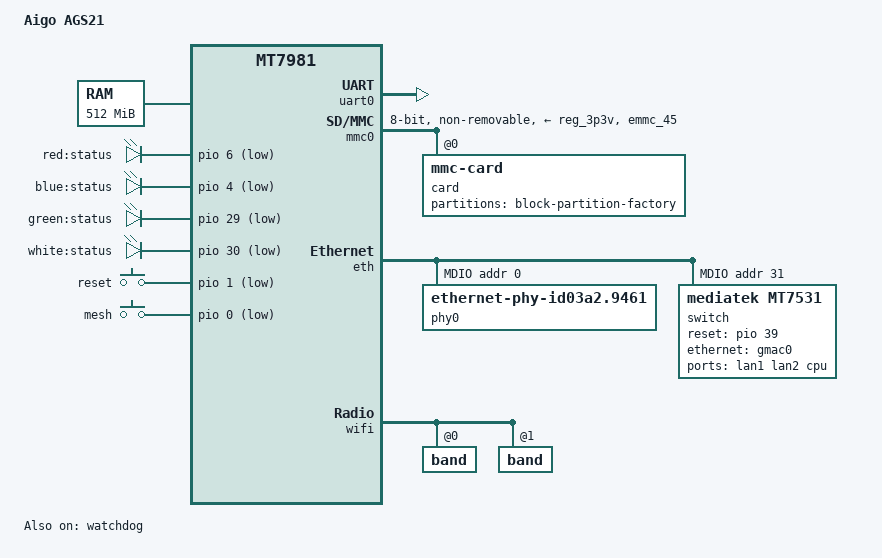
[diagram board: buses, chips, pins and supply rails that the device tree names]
// SPDX-License-Identifier: GPL-2.0-or-later OR MIT
/*
 * Author:dailook
 */

/dts-v1/;
#include <dt-bindings/gpio/gpio.h>
#include <dt-bindings/input/input.h>
#include <dt-bindings/leds/common.h>

#include "mt7981b.dtsi"

/ {
	model = "Aigo AGS21";
	compatible = "aigo,ags21", "mediatek,mt7981";

	chosen {
		bootargs = "root=PARTLABEL=rootfs rootwait rootfstype=squashfs,f2fs";
		stdout-path = "serial0:115200n8";
	};

	aliases {
		led-boot = &status_red_led;
		led-failsafe = &status_red_led;
		led-running = &status_blue_led;
		led-upgrade = &status_blue_led;
		serial0 = &uart0;
	};

	memory {
		reg = <0 0x40000000 0 0x20000000>;
	};

	leds {
		compatible = "gpio-leds";

		status_red_led: led-0 {
			label = "red:status";
			gpios = <&pio 6 GPIO_ACTIVE_LOW>;
		};

		status_blue_led: led-1 {
			label = "blue:status";
			gpios = <&pio 4 GPIO_ACTIVE_LOW>;
		};

		internet_led: led-2 {
			label = "green:status";
			gpios = <&pio 29 GPIO_ACTIVE_LOW>;
		};

		wifi_led: led-3 {
			label = "white:status";
			gpios = <&pio 30 GPIO_ACTIVE_LOW>;
		};
	};

	gpio-keys {
		compatible = "gpio-keys";
		reset {
			label = "reset";
			linux,code = <KEY_RESTART>;
			gpios = <&pio 1 GPIO_ACTIVE_LOW>;
		};

		mesh {
			label = "mesh";
			linux,code = <BTN_9>;
			gpios = <&pio 0 GPIO_ACTIVE_LOW>;
		};
	};
};

&uart0 {
	status = "okay";
};

&watchdog {
	status = "okay";
};

&mmc0 {
	bus-width = <8>;
	cap-mmc-highspeed;
	max-frequency = <52000000>;
	non-removable;
	pinctrl-names = "default", "state_uhs";
	pinctrl-0 = <&mmc0_pins_default>;
	pinctrl-1 = <&mmc0_pins_uhs>;
	vmmc-supply = <&reg_3p3v>;
	status = "okay";

	card@0 {
		compatible = "mmc-card";
		reg = <0>;

		block {
			compatible = "block-device";

			partitions {
				block-partition-factory {
					partname = "factory";

					nvmem-layout {
						compatible = "fixed-layout";
						#address-cells = <1>;
						#size-cells = <1>;

						eeprom_factory_0: eeprom@0 {
							reg = <0x0 0x1000>;
						};

						macaddr_factory_4: macaddr@4 {
							compatible = "mac-base";
							reg = <0x4 0x6>;
							#nvmem-cell-cells = <1>;
						};

						macaddr_factory_24: macaddr@24 {
							compatible = "mac-base";
							reg = <0x24 0x6>;
							#nvmem-cell-cells = <1>;
						};

						macaddr_factory_2a: macaddr@2a {
							compatible = "mac-base";
							reg = <0x2a 0x6>;
							#nvmem-cell-cells = <1>;
						};

						macaddr_factory_30: macaddr@30 {
							compatible = "mac-base";
							reg = <0x30 0x6>;
							#nvmem-cell-cells = <1>;
						};
					};
				};
			};
		};
	};
};

&eth {
	status = "okay";

	gmac0: mac@0 {
		compatible = "mediatek,eth-mac";
		reg = <0>;
		phy-mode = "2500base-x";
		
		nvmem-cells = <&macaddr_factory_2a 0>;
        nvmem-cell-names = "mac-address";
		
		fixed-link {
			speed = <2500>;
			full-duplex;
			pause;
		};
	};

	gmac1: mac@1 {
		compatible = "mediatek,eth-mac";
		reg = <1>;
		phy-mode = "gmii";
		phy-handle = <&int_gbe_phy>;

		nvmem-cells = <&macaddr_factory_24 0>;
		nvmem-cell-names = "mac-address";
	};

	mdio: mdio-bus {
		#address-cells = <1>;
		#size-cells = <0>;

		phy0: ethernet-phy@0 {
			compatible = "ethernet-phy-id03a2.9461";
			reg = <0>;
			phy-mode = "gmii";
			nvmem-cells = <&phy_calibration>;
			nvmem-cell-names = "phy-cal-data";
		};

		switch@0 {
			compatible = "mediatek,mt7531";
			reg = <31>;
			reset-gpios = <&pio 39 0>;

			ports {
				#address-cells = <1>;
				#size-cells = <0>;

				port@1 {
					reg = <1>;
					label = "lan1";
				};

				port@2 {
					reg = <2>;
					label = "lan2";
				};
				
				port@6 {
					reg = <6>;
					label = "cpu";
					ethernet = <&gmac0>;
					phy-mode = "2500base-x";

					fixed-link {
						speed = <2500>;
						full-duplex;
						pause;
					};
				};
			};
		};
	};
};

&pio {
	mmc0_pins_default: mmc0-pins-default {
		mux {
			function = "flash";
			groups = "emmc_45";
		};
	};

	mmc0_pins_uhs: mmc0-pins-uhs {
		mux {
			function = "flash";
			groups = "emmc_45";
		};
	};
};

&wifi {
	status = "okay";
	nvmem-cells = <&eeprom_factory_0>;
	nvmem-cell-names = "eeprom";
	
	band@0 {
		reg = <0>;
		nvmem-cells = <&macaddr_factory_4 0>;
		nvmem-cell-names = "mac-address";
	};

	band@1 {
		reg = <1>;
		nvmem-cells = <&macaddr_factory_30 0>;
		nvmem-cell-names = "mac-address";
	};
};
